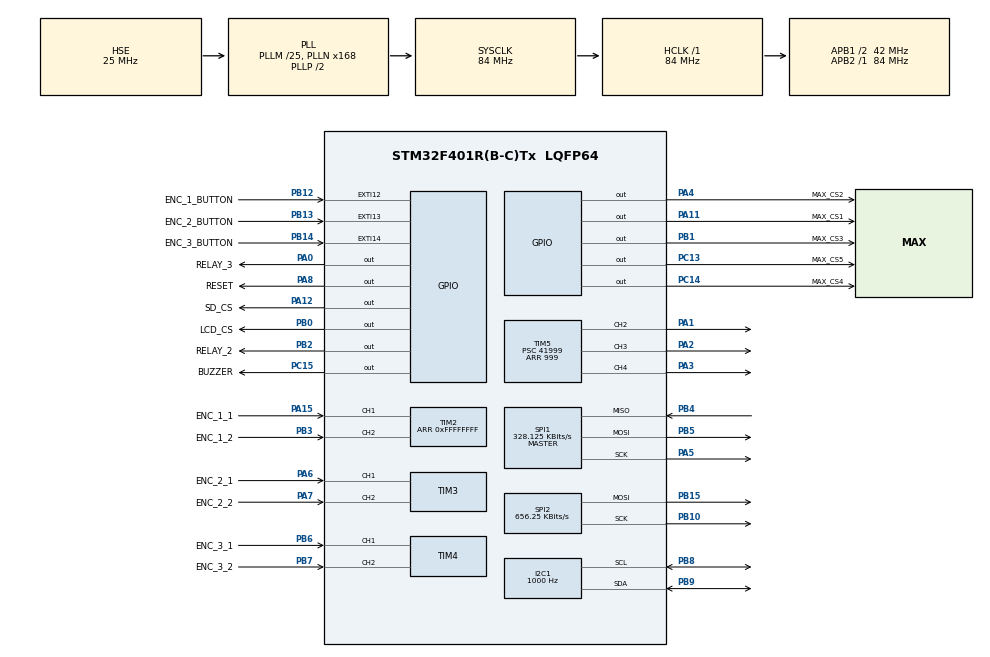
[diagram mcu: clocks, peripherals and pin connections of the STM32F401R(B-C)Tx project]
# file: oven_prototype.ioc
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Dma.Request0=SPI1_RX
Dma.Request1=SPI1_TX
Dma.Request2=TIM5_CH3/UP
Dma.SPI1_RX.0.Direction=DMA_PERIPH_TO_MEMORY
Dma.SPI1_RX.0.FIFOMode=DMA_FIFOMODE_DISABLE
Dma.SPI1_RX.0.Instance=DMA2_Stream0
Dma.SPI1_RX.0.MemDataAlignment=DMA_MDATAALIGN_HALFWORD
Dma.SPI1_RX.0.MemInc=DMA_MINC_ENABLE
Dma.SPI1_RX.0.Mode=DMA_NORMAL
Dma.SPI1_RX.0.PeriphDataAlignment=DMA_PDATAALIGN_HALFWORD
Dma.SPI1_RX.0.PeriphInc=DMA_PINC_DISABLE
Dma.SPI1_RX.0.Priority=DMA_PRIORITY_LOW
Dma.SPI1_TX.1.Direction=DMA_MEMORY_TO_PERIPH
Dma.SPI1_TX.1.FIFOMode=DMA_FIFOMODE_DISABLE
Dma.SPI1_TX.1.Instance=DMA2_Stream3
Dma.SPI1_TX.1.MemDataAlignment=DMA_MDATAALIGN_HALFWORD
Dma.SPI1_TX.1.MemInc=DMA_MINC_ENABLE
Dma.SPI1_TX.1.Mode=DMA_NORMAL
Dma.SPI1_TX.1.PeriphDataAlignment=DMA_PDATAALIGN_HALFWORD
Dma.SPI1_TX.1.PeriphInc=DMA_PINC_DISABLE
Dma.SPI1_TX.1.Priority=DMA_PRIORITY_LOW
Dma.TIM5_CH3/UP.2.Direction=DMA_MEMORY_TO_PERIPH
Dma.TIM5_CH3/UP.2.FIFOMode=DMA_FIFOMODE_DISABLE
Dma.TIM5_CH3/UP.2.Instance=DMA1_Stream0
Dma.TIM5_CH3/UP.2.MemDataAlignment=DMA_MDATAALIGN_HALFWORD
Dma.TIM5_CH3/UP.2.MemInc=DMA_MINC_ENABLE
Dma.TIM5_CH3/UP.2.Mode=DMA_CIRCULAR
Dma.TIM5_CH3/UP.2.PeriphDataAlignment=DMA_PDATAALIGN_HALFWORD
Dma.TIM5_CH3/UP.2.PeriphInc=DMA_PINC_DISABLE
Dma.TIM5_CH3/UP.2.Priority=DMA_PRIORITY_LOW
I2C1.ClockSpeed=1000
Mcu.Family=STM32F4
Mcu.Name=STM32F401R(B-C)Tx
Mcu.Package=LQFP64
NVIC.DMA1_Stream0_IRQn=true\:0\:0\:false\:false\:true\:false\:true\:true
NVIC.DMA2_Stream0_IRQn=true\:0\:0\:false\:false\:true\:false\:true\:true
NVIC.DMA2_Stream3_IRQn=true\:0\:0\:false\:false\:true\:false\:true\:true
NVIC.EXTI15_10_IRQn=true\:5\:0\:true\:false\:true\:true\:true\:true
NVIC.PriorityGroup=NVIC_PRIORITYGROUP_4
NVIC.TIM1_BRK_TIM9_IRQn=true\:0\:0\:false\:false\:true\:true\:true\:true
NVIC.TIM1_UP_TIM10_IRQn=true\:0\:0\:true\:false\:true\:true\:true\:true
NVIC.TIM2_IRQn=true\:5\:0\:true\:false\:true\:true\:true\:true
NVIC.TIM3_IRQn=true\:5\:0\:true\:false\:true\:true\:true\:true
NVIC.TIM4_IRQn=true\:5\:0\:true\:false\:true\:true\:true\:true
NVIC.TIM5_IRQn=true\:0\:0\:false\:false\:true\:true\:true\:true
PA0-WKUP.GPIO_Label=RELAY_3
PA0-WKUP.Signal=GPIO_Output
PA1.Signal=S_TIM5_CH2
PA11.GPIO_Label=MAX_CS1
PA11.Signal=GPIO_Output
PA12.GPIO_Label=SD_CS
PA12.Signal=GPIO_Output
PA13.Mode=Serial_Wire
PA13.Signal=SYS_JTMS-SWDIO
PA14.Mode=Serial_Wire
PA14.Signal=SYS_JTCK-SWCLK
PA15.GPIO_Label=ENC_1_1
PA15.GPIO_ModeDefaultPP=GPIO_MODE_AF_OD
PA15.GPIO_PuPd=GPIO_NOPULL
PA15.GPIO_Speed=GPIO_SPEED_FREQ_MEDIUM
PA15.Signal=S_TIM2_CH1_ETR
PA2.Signal=S_TIM5_CH3
PA3.Signal=S_TIM5_CH4
PA4.GPIO_Label=MAX_CS2
PA4.GPIO_Speed=GPIO_SPEED_FREQ_LOW
PA4.Signal=GPIO_Output
PA5.Mode=Full_Duplex_Master
PA5.Signal=SPI1_SCK
PA6.GPIO_Label=ENC_2_1
PA6.GPIO_Speed=GPIO_SPEED_FREQ_HIGH
PA6.Signal=S_TIM3_CH1
PA7.GPIO_Label=ENC_2_2
PA7.GPIO_Speed=GPIO_SPEED_FREQ_HIGH
PA7.Signal=S_TIM3_CH2
PA8.GPIO_Label=RESET
PA8.GPIO_Speed=GPIO_SPEED_FREQ_VERY_HIGH
PA8.Signal=GPIO_Output
PB0.GPIO_Label=LCD_CS
PB0.Signal=GPIO_Output
PB1.GPIO_Label=MAX_CS3
PB1.Signal=GPIO_Output
PB10.Mode=TX_Only_Simplex_Unidirect_Master
PB10.Signal=SPI2_SCK
PB12.GPIO_Label=ENC_1_BUTTON
PB12.GPIO_ModeDefaultEXTI=GPIO_MODE_IT_FALLING
PB12.GPIO_PuPd=GPIO_PULLUP
PB12.Signal=GPXTI12
PB13.GPIO_Label=ENC_2_BUTTON
PB13.GPIO_ModeDefaultEXTI=GPIO_MODE_IT_FALLING
PB13.GPIO_PuPd=GPIO_PULLUP
PB13.Signal=GPXTI13
PB14.GPIO_Label=ENC_3_BUTTON
PB14.GPIO_ModeDefaultEXTI=GPIO_MODE_IT_FALLING
PB14.GPIO_PuPd=GPIO_PULLUP
PB14.Signal=GPXTI14
PB15.Mode=TX_Only_Simplex_Unidirect_Master
PB15.Signal=SPI2_MOSI
PB2.GPIO_Label=RELAY_2
PB2.Signal=GPIO_Output
PB3.GPIO_Label=ENC_1_2
PB3.GPIO_PuPd=GPIO_NOPULL
PB3.GPIO_Speed=GPIO_SPEED_FREQ_MEDIUM
PB3.Signal=S_TIM2_CH2
PB4.Mode=Full_Duplex_Master
PB4.Signal=SPI1_MISO
PB5.Mode=Full_Duplex_Master
PB5.Signal=SPI1_MOSI
PB6.GPIO_Label=ENC_3_1
PB6.Signal=S_TIM4_CH1
PB7.GPIO_Label=ENC_3_2
PB7.Signal=S_TIM4_CH2
PB8.GPIO_Pu=GPIO_PULLUP
PB8.Mode=I2C
PB8.Signal=I2C1_SCL
PB9.GPIO_Pu=GPIO_PULLUP
PB9.Mode=I2C
PB9.Signal=I2C1_SDA
PC13-ANTI_TAMP.GPIO_Label=MAX_CS5
PC13-ANTI_TAMP.Signal=GPIO_Output
PC14-OSC32_IN.GPIO_Label=MAX_CS4
PC14-OSC32_IN.Signal=GPIO_Output
PC15-OSC32_OUT.GPIO_Label=BUZZER
PC15-OSC32_OUT.Signal=GPIO_Output
PH0\ -\ OSC_IN.Mode=HSE-External-Oscillator
PH0\ -\ OSC_IN.Signal=RCC_OSC_IN
PH1\ -\ OSC_OUT.Mode=HSE-External-Oscillator
PH1\ -\ OSC_OUT.Signal=RCC_OSC_OUT
ProjectManager.HeapSize=0x200
ProjectManager.StackSize=0x400
ProjectManager.TargetToolchain=STM32CubeIDE
RCC.48MHZClocksFreq_Value=42000000
RCC.AHBFreq_Value=84000000
RCC.APB1CLKDivider=RCC_HCLK_DIV2
RCC.APB1Freq_Value=42000000
RCC.APB1TimFreq_Value=84000000
RCC.APB2Freq_Value=84000000
RCC.APB2TimFreq_Value=84000000
RCC.CortexFreq_Value=84000000
RCC.HCLKFreq_Value=84000000
RCC.HSE_VALUE=25000000
RCC.HSI_VALUE=16000000
RCC.LSE_VALUE=32768
RCC.PLLM=25
RCC.PLLN=168
RCC.PLLSourceVirtual=RCC_PLLSOURCE_HSE
RCC.SYSCLKFreq_VALUE=84000000
RCC.SYSCLKSource=RCC_SYSCLKSOURCE_PLLCLK
RCC.VCOOutputFreq_Value=168000000
SH.S_TIM2_CH1_ETR.0=TIM2_CH1,Encoder_Interface
SH.S_TIM2_CH2.0=TIM2_CH2,Encoder_Interface
SH.S_TIM3_CH1.0=TIM3_CH1,Encoder_Interface
SH.S_TIM3_CH2.0=TIM3_CH2,Encoder_Interface
SH.S_TIM4_CH1.0=TIM4_CH1,Encoder_Interface
SH.S_TIM4_CH2.0=TIM4_CH2,Encoder_Interface
SH.S_TIM5_CH2.0=TIM5_CH2,PWM Generation2 CH2
SH.S_TIM5_CH3.0=TIM5_CH3,PWM Generation3 CH3
SH.S_TIM5_CH4.0=TIM5_CH4,PWM Generation4 CH4
SPI1.BaudRatePrescaler=SPI_BAUDRATEPRESCALER_256
SPI1.CLKPhase=SPI_PHASE_2EDGE
SPI1.CLKPolarity=SPI_POLARITY_HIGH
SPI1.CalculateBaudRate=328.125 KBits/s
SPI1.DataSize=SPI_DATASIZE_16BIT
SPI1.Direction=SPI_DIRECTION_2LINES
SPI1.Mode=SPI_MODE_MASTER
SPI1.VirtualType=VM_MASTER
SPI2.BaudRatePrescaler=SPI_BAUDRATEPRESCALER_64
SPI2.CalculateBaudRate=656.25 KBits/s
SPI2.Direction=SPI_DIRECTION_2LINES
SPI2.Mode=SPI_MODE_MASTER
SPI2.VirtualType=VM_MASTER
TIM1.ClockDivision=TIM_CLOCKDIVISION_DIV1
TIM1.Period=99
TIM1.Prescaler=40999
TIM2.EncoderMode=TIM_ENCODERMODE_TI12
TIM2.IC1Filter=10
TIM2.IC1Polarity=TIM_ICPOLARITY_FALLING
TIM2.IC2Filter=10
TIM2.IC2Polarity=TIM_ICPOLARITY_FALLING
TIM2.Period=0xFFFFFFFF
TIM3.EncoderMode=TIM_ENCODERMODE_TI12
TIM3.IC1Filter=4
TIM3.IC1Polarity=TIM_ICPOLARITY_FALLING
TIM3.IC2Filter=4
TIM3.IC2Polarity=TIM_ICPOLARITY_FALLING
TIM4.EncoderMode=TIM_ENCODERMODE_TI12
TIM4.IC1Polarity=TIM_ICPOLARITY_FALLING
TIM4.IC2Polarity=TIM_ICPOLARITY_FALLING
TIM5.Channel-PWM\ Generation2\ CH2=TIM_CHANNEL_2
TIM5.Channel-PWM\ Generation3\ CH3=TIM_CHANNEL_3
TIM5.Channel-PWM\ Generation4\ CH4=TIM_CHANNEL_4
TIM5.Period=999
TIM5.Prescaler=41999
TIM9.ClockDivision=TIM_CLOCKDIVISION_DIV2
TIM9.Period=99
TIM9.Prescaler=41999
VP_TIM1_VS_ClockSourceINT.Mode=Internal
VP_TIM5_VS_ClockSourceINT.Mode=Internal
VP_TIM9_VS_ClockSourceINT.Mode=Internal
board=custom

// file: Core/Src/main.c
/* USER CODE BEGIN Header */
/**
  ******************************************************************************
  * @file           : main.c
  * @brief          : Main program body
  ******************************************************************************
  * @attention
  *
  * Copyright (c) 2025 STMicroelectronics.
  * All rights reserved.
  *
  * This software is licensed under terms that can be found in the LICENSE file
  * in the root directory of this software component.
  * If no LICENSE file comes with this software, it is provided AS-IS.
  *
  ******************************************************************************
  */
/* USER CODE END Header */

#include "main.h"

/* USER CODE BEGIN Includes */
#include "u8g2.h"
#include "pi_control.h"
#include "ds1307_for_stm32_hal.h"
#include "menu.h"
#include <math.h>
#include "Sensor_Handler.h"
#include "Cooking_Handler.h"
#include "Display_Handler.h"
#include "settings.h"
#include "types.h"
#include "Encoder_Handler.h"
#include "Interrupt_Handler.h"
#include "Helper_Functions.h"
/* USER CODE END Includes */

I2C_HandleTypeDef hi2c1;

SPI_HandleTypeDef hspi1;
SPI_HandleTypeDef hspi2;
DMA_HandleTypeDef hdma_spi1_rx;
DMA_HandleTypeDef hdma_spi1_tx;

TIM_HandleTypeDef htim1;
TIM_HandleTypeDef htim2;
TIM_HandleTypeDef htim3;
TIM_HandleTypeDef htim4;
TIM_HandleTypeDef htim5;
TIM_HandleTypeDef htim9;
DMA_HandleTypeDef hdma_tim5_ch3_up;

/* USER CODE BEGIN PV */

/* PI CALIBRATION VERIABLES BEGIN*/

/* PI CALIBRATION VERIABLES END*/
static PI_Oven    pi1;
static PI_Oven    pi2;
static PI_Oven    pi3;

static MenuCtx m;
static CookingCtx c;
static Sens t;

AppSettings* cfg;

setting_t setting;

encoder encoder1;
encoder encoder2;
encoder encoder3;

u8g2_t display;

uint32_t TIM_counter;

/* USER CODE END PV */

void SystemClock_Config(void);
static void MX_GPIO_Init(void);
static void MX_DMA_Init(void);
static void MX_SPI1_Init(void);
static void MX_TIM2_Init(void);
static void MX_TIM3_Init(void);
static void MX_TIM4_Init(void);
static void MX_I2C1_Init(void);
static void MX_TIM1_Init(void);
static void MX_SPI2_Init(void);
static void MX_TIM5_Init(void);
static void MX_TIM9_Init(void);

int main(void)
{

  /* MCU Configuration--------------------------------------------------------*/

  /* Reset of all peripherals, Initializes the Flash interface and the Systick. */
  HAL_Init();

  /* Configure the system clock */
  SystemClock_Config();

  /* Initialize all configured peripherals */
  MX_GPIO_Init();
  MX_DMA_Init();
  MX_SPI1_Init();
  MX_TIM2_Init();
  MX_TIM3_Init();
  MX_TIM4_Init();
  MX_I2C1_Init();
  MX_TIM1_Init();
  MX_SPI2_Init();
  MX_TIM5_Init();
  MX_TIM9_Init();
  /* USER CODE BEGIN 2 */
	Temp_Sens_Init();
	DS1307_Init(&hi2c1);
	Display_Init(&display);

	Settings_Init();
	cfg = Settings_Get();
	setting.kp = cfg->kp;
	setting.ki = cfg->ki;
	setting.slew = cfg->slew;
	setting.max_pwr = cfg->maxPwr;

	Encoder_Init();
	Cooking_Init(setting, &pi1, &pi2, &pi3);

	HAL_TIM_Base_Start_IT(&htim1);

  /* USER CODE END 2 */

  /* Infinite loop */
	while (1) {

    /* USER CODE BEGIN 3 */

		if(IRQ_enc1_btn_flag == TRUE){

			button_handler_encoder1(&m, &c, t);
			IRQ_enc1_btn_flag = FALSE;

		}
		if(IRQ_enc2_btn_flag == TRUE){

			button_handler_encoder2(&m, &c);
			IRQ_enc2_btn_flag = FALSE;

		}
		if(IRQ_enc3_btn_flag == TRUE){

			button_handler_encoder3(&m, &setting, &pi1, &pi2, &pi3);
			IRQ_enc3_btn_flag = FALSE;
		}

		if (sensorRead_flag == TRUE) {

			sensorRead_flag = FALSE;

			Sens_Handler(&t, TIM_counter, &hspi2);

			Cooking_Handler(&c, t, &pi1, &pi2, &pi3);

		}
		if(SPI_flag == TRUE){
			TempSens_IRQ_Handler(&t);
			SPI_flag = FALSE;
		}

		tick_handler_encoder1(&encoder1, &m);
		tick_handler_encoder2(&encoder2, &m, c);
		tick_handler_encoder3(&encoder3, &m);

		Display_Handler(&display, &m, &c, t, &setting);

	}
  /* USER CODE END 3 */
}

void SystemClock_Config(void)
{
  RCC_OscInitTypeDef RCC_OscInitStruct = {0};
  RCC_ClkInitTypeDef RCC_ClkInitStruct = {0};

  /** Configure the main internal regulator output voltage
  */
  __HAL_RCC_PWR_CLK_ENABLE();
  __HAL_PWR_VOLTAGESCALING_CONFIG(PWR_REGULATOR_VOLTAGE_SCALE2);

  /** Initializes the RCC Oscillators according to the specified parameters
  * in the RCC_OscInitTypeDef structure.
  */
  RCC_OscInitStruct.OscillatorType = RCC_OSCILLATORTYPE_HSE;
  RCC_OscInitStruct.HSEState = RCC_HSE_ON;
  RCC_OscInitStruct.PLL.PLLState = RCC_PLL_ON;
  RCC_OscInitStruct.PLL.PLLSource = RCC_PLLSOURCE_HSE;
  RCC_OscInitStruct.PLL.PLLM = 25;
  RCC_OscInitStruct.PLL.PLLN = 168;
  RCC_OscInitStruct.PLL.PLLP = RCC_PLLP_DIV2;
  RCC_OscInitStruct.PLL.PLLQ = 4;
  if (HAL_RCC_OscConfig(&RCC_OscInitStruct) != HAL_OK)
  {
    Error_Handler();
  }

  /** Initializes the CPU, AHB and APB buses clocks
  */
  RCC_ClkInitStruct.ClockType = RCC_CLOCKTYPE_HCLK|RCC_CLOCKTYPE_SYSCLK
                              |RCC_CLOCKTYPE_PCLK1|RCC_CLOCKTYPE_PCLK2;
  RCC_ClkInitStruct.SYSCLKSource = RCC_SYSCLKSOURCE_PLLCLK;
  RCC_ClkInitStruct.AHBCLKDivider = RCC_SYSCLK_DIV1;
  RCC_ClkInitStruct.APB1CLKDivider = RCC_HCLK_DIV2;
  RCC_ClkInitStruct.APB2CLKDivider = RCC_HCLK_DIV1;

  if (HAL_RCC_ClockConfig(&RCC_ClkInitStruct, FLASH_LATENCY_2) != HAL_OK)
  {
    Error_Handler();
  }
}

static void MX_I2C1_Init(void)
{

  hi2c1.Instance = I2C1;
  hi2c1.Init.ClockSpeed = 1000;
  hi2c1.Init.DutyCycle = I2C_DUTYCYCLE_2;
  hi2c1.Init.OwnAddress1 = 0;
  hi2c1.Init.AddressingMode = I2C_ADDRESSINGMODE_7BIT;
  hi2c1.Init.DualAddressMode = I2C_DUALADDRESS_DISABLE;
  hi2c1.Init.OwnAddress2 = 0;
  hi2c1.Init.GeneralCallMode = I2C_GENERALCALL_DISABLE;
  hi2c1.Init.NoStretchMode = I2C_NOSTRETCH_DISABLE;
  if (HAL_I2C_Init(&hi2c1) != HAL_OK)
  {
    Error_Handler();
  }

}

static void MX_SPI1_Init(void)
{

  /* SPI1 parameter configuration*/
  hspi1.Instance = SPI1;
  hspi1.Init.Mode = SPI_MODE_MASTER;
  hspi1.Init.Direction = SPI_DIRECTION_2LINES;
  hspi1.Init.DataSize = SPI_DATASIZE_16BIT;
  hspi1.Init.CLKPolarity = SPI_POLARITY_HIGH;
  hspi1.Init.CLKPhase = SPI_PHASE_2EDGE;
  hspi1.Init.NSS = SPI_NSS_SOFT;
  hspi1.Init.BaudRatePrescaler = SPI_BAUDRATEPRESCALER_256;
  hspi1.Init.FirstBit = SPI_FIRSTBIT_MSB;
  hspi1.Init.TIMode = SPI_TIMODE_DISABLE;
  hspi1.Init.CRCCalculation = SPI_CRCCALCULATION_DISABLE;
  hspi1.Init.CRCPolynomial = 10;
  if (HAL_SPI_Init(&hspi1) != HAL_OK)
  {
    Error_Handler();
  }

}

static void MX_SPI2_Init(void)
{

  /* SPI2 parameter configuration*/
  hspi2.Instance = SPI2;
  hspi2.Init.Mode = SPI_MODE_MASTER;
  hspi2.Init.Direction = SPI_DIRECTION_2LINES;
  hspi2.Init.DataSize = SPI_DATASIZE_8BIT;
  hspi2.Init.CLKPolarity = SPI_POLARITY_LOW;
  hspi2.Init.CLKPhase = SPI_PHASE_1EDGE;
  hspi2.Init.NSS = SPI_NSS_SOFT;
  hspi2.Init.BaudRatePrescaler = SPI_BAUDRATEPRESCALER_64;
  hspi2.Init.FirstBit = SPI_FIRSTBIT_MSB;
  hspi2.Init.TIMode = SPI_TIMODE_DISABLE;
  hspi2.Init.CRCCalculation = SPI_CRCCALCULATION_DISABLE;
  hspi2.Init.CRCPolynomial = 10;
  if (HAL_SPI_Init(&hspi2) != HAL_OK)
  {
    Error_Handler();
  }

}

static void MX_TIM1_Init(void)
{

  TIM_ClockConfigTypeDef sClockSourceConfig = {0};
  TIM_MasterConfigTypeDef sMasterConfig = {0};

  htim1.Instance = TIM1;
  htim1.Init.Prescaler = 40999;
  htim1.Init.CounterMode = TIM_COUNTERMODE_UP;
  htim1.Init.Period = 99;
  htim1.Init.ClockDivision = TIM_CLOCKDIVISION_DIV1;
  htim1.Init.RepetitionCounter = 0;
  htim1.Init.AutoReloadPreload = TIM_AUTORELOAD_PRELOAD_DISABLE;
  if (HAL_TIM_Base_Init(&htim1) != HAL_OK)
  {
    Error_Handler();
  }
  sClockSourceConfig.ClockSource = TIM_CLOCKSOURCE_INTERNAL;
  if (HAL_TIM_ConfigClockSource(&htim1, &sClockSourceConfig) != HAL_OK)
  {
    Error_Handler();
  }
  sMasterConfig.MasterOutputTrigger = TIM_TRGO_RESET;
  sMasterConfig.MasterSlaveMode = TIM_MASTERSLAVEMODE_DISABLE;
  if (HAL_TIMEx_MasterConfigSynchronization(&htim1, &sMasterConfig) != HAL_OK)
  {
    Error_Handler();
  }

}

static void MX_TIM2_Init(void)
{

  TIM_Encoder_InitTypeDef sConfig = {0};
  TIM_MasterConfigTypeDef sMasterConfig = {0};

  htim2.Instance = TIM2;
  htim2.Init.Prescaler = 0;
  htim2.Init.CounterMode = TIM_COUNTERMODE_UP;
  htim2.Init.Period = 0xFFFFFFFF;
  htim2.Init.ClockDivision = TIM_CLOCKDIVISION_DIV1;
  htim2.Init.AutoReloadPreload = TIM_AUTORELOAD_PRELOAD_DISABLE;
  sConfig.EncoderMode = TIM_ENCODERMODE_TI12;
  sConfig.IC1Polarity = TIM_ICPOLARITY_FALLING;
  sConfig.IC1Selection = TIM_ICSELECTION_DIRECTTI;
  sConfig.IC1Prescaler = TIM_ICPSC_DIV1;
  sConfig.IC1Filter = 10;
  sConfig.IC2Polarity = TIM_ICPOLARITY_FALLING;
  sConfig.IC2Selection = TIM_ICSELECTION_DIRECTTI;
  sConfig.IC2Prescaler = TIM_ICPSC_DIV1;
  sConfig.IC2Filter = 10;
  if (HAL_TIM_Encoder_Init(&htim2, &sConfig) != HAL_OK)
  {
    Error_Handler();
  }
  sMasterConfig.MasterOutputTrigger = TIM_TRGO_RESET;
  sMasterConfig.MasterSlaveMode = TIM_MASTERSLAVEMODE_DISABLE;
  if (HAL_TIMEx_MasterConfigSynchronization(&htim2, &sMasterConfig) != HAL_OK)
  {
    Error_Handler();
  }

}

static void MX_TIM3_Init(void)
{

  TIM_Encoder_InitTypeDef sConfig = {0};
  TIM_MasterConfigTypeDef sMasterConfig = {0};

  htim3.Instance = TIM3;
  htim3.Init.Prescaler = 0;
  htim3.Init.CounterMode = TIM_COUNTERMODE_UP;
  htim3.Init.Period = 65535;
  htim3.Init.ClockDivision = TIM_CLOCKDIVISION_DIV1;
  htim3.Init.AutoReloadPreload = TIM_AUTORELOAD_PRELOAD_DISABLE;
  sConfig.EncoderMode = TIM_ENCODERMODE_TI12;
  sConfig.IC1Polarity = TIM_ICPOLARITY_FALLING;
  sConfig.IC1Selection = TIM_ICSELECTION_DIRECTTI;
  sConfig.IC1Prescaler = TIM_ICPSC_DIV1;
  sConfig.IC1Filter = 4;
  sConfig.IC2Polarity = TIM_ICPOLARITY_FALLING;
  sConfig.IC2Selection = TIM_ICSELECTION_DIRECTTI;
  sConfig.IC2Prescaler = TIM_ICPSC_DIV1;
  sConfig.IC2Filter = 4;
  if (HAL_TIM_Encoder_Init(&htim3, &sConfig) != HAL_OK)
  {
    Error_Handler();
  }
  sMasterConfig.MasterOutputTrigger = TIM_TRGO_RESET;
  sMasterConfig.MasterSlaveMode = TIM_MASTERSLAVEMODE_DISABLE;
  if (HAL_TIMEx_MasterConfigSynchronization(&htim3, &sMasterConfig) != HAL_OK)
  {
    Error_Handler();
  }

}

static void MX_TIM4_Init(void)
{

  TIM_Encoder_InitTypeDef sConfig = {0};
  TIM_MasterConfigTypeDef sMasterConfig = {0};

  htim4.Instance = TIM4;
  htim4.Init.Prescaler = 0;
  htim4.Init.CounterMode = TIM_COUNTERMODE_UP;
  htim4.Init.Period = 65535;
  htim4.Init.ClockDivision = TIM_CLOCKDIVISION_DIV1;
  htim4.Init.AutoReloadPreload = TIM_AUTORELOAD_PRELOAD_DISABLE;
  sConfig.EncoderMode = TIM_ENCODERMODE_TI12;
  sConfig.IC1Polarity = TIM_ICPOLARITY_FALLING;
  sConfig.IC1Selection = TIM_ICSELECTION_DIRECTTI;
  sConfig.IC1Prescaler = TIM_ICPSC_DIV1;
  sConfig.IC1Filter = 0;
  sConfig.IC2Polarity = TIM_ICPOLARITY_FALLING;
  sConfig.IC2Selection = TIM_ICSELECTION_DIRECTTI;
  sConfig.IC2Prescaler = TIM_ICPSC_DIV1;
  sConfig.IC2Filter = 0;
  if (HAL_TIM_Encoder_Init(&htim4, &sConfig) != HAL_OK)
  {
    Error_Handler();
  }
  sMasterConfig.MasterOutputTrigger = TIM_TRGO_RESET;
  sMasterConfig.MasterSlaveMode = TIM_MASTERSLAVEMODE_DISABLE;
  if (HAL_TIMEx_MasterConfigSynchronization(&htim4, &sMasterConfig) != HAL_OK)
  {
    Error_Handler();
  }

}

static void MX_TIM5_Init(void)
{

  TIM_ClockConfigTypeDef sClockSourceConfig = {0};
  TIM_MasterConfigTypeDef sMasterConfig = {0};
  TIM_OC_InitTypeDef sConfigOC = {0};

  htim5.Instance = TIM5;
  htim5.Init.Prescaler = 41999;
  htim5.Init.CounterMode = TIM_COUNTERMODE_UP;
  htim5.Init.Period = 999;
  htim5.Init.ClockDivision = TIM_CLOCKDIVISION_DIV1;
  htim5.Init.AutoReloadPreload = TIM_AUTORELOAD_PRELOAD_DISABLE;
  if (HAL_TIM_Base_Init(&htim5) != HAL_OK)
  {
    Error_Handler();
  }
  sClockSourceConfig.ClockSource = TIM_CLOCKSOURCE_INTERNAL;
  if (HAL_TIM_ConfigClockSource(&htim5, &sClockSourceConfig) != HAL_OK)
  {
    Error_Handler();
  }
  if (HAL_TIM_PWM_Init(&htim5) != HAL_OK)
  {
    Error_Handler();
  }
  sMasterConfig.MasterOutputTrigger = TIM_TRGO_RESET;
  sMasterConfig.MasterSlaveMode = TIM_MASTERSLAVEMODE_DISABLE;
  if (HAL_TIMEx_MasterConfigSynchronization(&htim5, &sMasterConfig) != HAL_OK)
  {
    Error_Handler();
  }
  sConfigOC.OCMode = TIM_OCMODE_PWM1;
  sConfigOC.Pulse = 0;
  sConfigOC.OCPolarity = TIM_OCPOLARITY_HIGH;
  sConfigOC.OCFastMode = TIM_OCFAST_DISABLE;
  if (HAL_TIM_PWM_ConfigChannel(&htim5, &sConfigOC, TIM_CHANNEL_2) != HAL_OK)
  {
    Error_Handler();
  }
  if (HAL_TIM_PWM_ConfigChannel(&htim5, &sConfigOC, TIM_CHANNEL_3) != HAL_OK)
  {
    Error_Handler();
  }
  if (HAL_TIM_PWM_ConfigChannel(&htim5, &sConfigOC, TIM_CHANNEL_4) != HAL_OK)
  {
    Error_Handler();
  }
  HAL_TIM_MspPostInit(&htim5);

}

static void MX_TIM9_Init(void)
{

  TIM_ClockConfigTypeDef sClockSourceConfig = {0};

  htim9.Instance = TIM9;
  htim9.Init.Prescaler = 41999;
  htim9.Init.CounterMode = TIM_COUNTERMODE_UP;
  htim9.Init.Period = 99;
  htim9.Init.ClockDivision = TIM_CLOCKDIVISION_DIV2;
  htim9.Init.AutoReloadPreload = TIM_AUTORELOAD_PRELOAD_DISABLE;
  if (HAL_TIM_Base_Init(&htim9) != HAL_OK)
  {
    Error_Handler();
  }
  sClockSourceConfig.ClockSource = TIM_CLOCKSOURCE_INTERNAL;
  if (HAL_TIM_ConfigClockSource(&htim9, &sClockSourceConfig) != HAL_OK)
  {
    Error_Handler();
  }

}

static void MX_DMA_Init(void)
{

  /* DMA controller clock enable */
  __HAL_RCC_DMA2_CLK_ENABLE();
  __HAL_RCC_DMA1_CLK_ENABLE();

  /* DMA interrupt init */
  /* DMA1_Stream0_IRQn interrupt configuration */
  HAL_NVIC_SetPriority(DMA1_Stream0_IRQn, 0, 0);
  HAL_NVIC_EnableIRQ(DMA1_Stream0_IRQn);
  /* DMA2_Stream0_IRQn interrupt configuration */
  HAL_NVIC_SetPriority(DMA2_Stream0_IRQn, 0, 0);
  HAL_NVIC_EnableIRQ(DMA2_Stream0_IRQn);
  /* DMA2_Stream3_IRQn interrupt configuration */
  HAL_NVIC_SetPriority(DMA2_Stream3_IRQn, 0, 0);
  HAL_NVIC_EnableIRQ(DMA2_Stream3_IRQn);

}

static void MX_GPIO_Init(void)
{
  GPIO_InitTypeDef GPIO_InitStruct = {0};

  /* GPIO Ports Clock Enable */
  __HAL_RCC_GPIOC_CLK_ENABLE();
  __HAL_RCC_GPIOH_CLK_ENABLE();
  __HAL_RCC_GPIOA_CLK_ENABLE();
  __HAL_RCC_GPIOB_CLK_ENABLE();

  /*Configure GPIO pin Output Level */
  HAL_GPIO_WritePin(GPIOC, MAX_CS5_Pin|MAX_CS4_Pin|BUZZER_Pin, GPIO_PIN_RESET);

  /*Configure GPIO pin Output Level */
  HAL_GPIO_WritePin(GPIOA, RELAY_3_Pin|MAX_CS2_Pin|RESET_Pin|MAX_CS1_Pin
                          |SD_CS_Pin, GPIO_PIN_RESET);

  /*Configure GPIO pin Output Level */
  HAL_GPIO_WritePin(GPIOB, LCD_CS_Pin|MAX_CS3_Pin|RELAY_2_Pin, GPIO_PIN_RESET);

  /*Configure GPIO pins : MAX_CS5_Pin MAX_CS4_Pin BUZZER_Pin */
  GPIO_InitStruct.Pin = MAX_CS5_Pin|MAX_CS4_Pin|BUZZER_Pin;
  GPIO_InitStruct.Mode = GPIO_MODE_OUTPUT_PP;
  GPIO_InitStruct.Pull = GPIO_NOPULL;
  GPIO_InitStruct.Speed = GPIO_SPEED_FREQ_LOW;
  HAL_GPIO_Init(GPIOC, &GPIO_InitStruct);

  /*Configure GPIO pins : RELAY_3_Pin MAX_CS2_Pin MAX_CS1_Pin SD_CS_Pin */
  GPIO_InitStruct.Pin = RELAY_3_Pin|MAX_CS2_Pin|MAX_CS1_Pin|SD_CS_Pin;
  GPIO_InitStruct.Mode = GPIO_MODE_OUTPUT_PP;
  GPIO_InitStruct.Pull = GPIO_NOPULL;
  GPIO_InitStruct.Speed = GPIO_SPEED_FREQ_LOW;
  HAL_GPIO_Init(GPIOA, &GPIO_InitStruct);

  /*Configure GPIO pins : LCD_CS_Pin MAX_CS3_Pin RELAY_2_Pin */
  GPIO_InitStruct.Pin = LCD_CS_Pin|MAX_CS3_Pin|RELAY_2_Pin;
  GPIO_InitStruct.Mode = GPIO_MODE_OUTPUT_PP;
  GPIO_InitStruct.Pull = GPIO_NOPULL;
  GPIO_InitStruct.Speed = GPIO_SPEED_FREQ_LOW;
  HAL_GPIO_Init(GPIOB, &GPIO_InitStruct);

  /*Configure GPIO pins : ENC_1_BUTTON_Pin ENC_2_BUTTON_Pin ENC_3_BUTTON_Pin */
  GPIO_InitStruct.Pin = ENC_1_BUTTON_Pin|ENC_2_BUTTON_Pin|ENC_3_BUTTON_Pin;
  GPIO_InitStruct.Mode = GPIO_MODE_IT_FALLING;
  GPIO_InitStruct.Pull = GPIO_PULLUP;
  HAL_GPIO_Init(GPIOB, &GPIO_InitStruct);

  /*Configure GPIO pin : RESET_Pin */
  GPIO_InitStruct.Pin = RESET_Pin;
  GPIO_InitStruct.Mode = GPIO_MODE_OUTPUT_PP;
  GPIO_InitStruct.Pull = GPIO_NOPULL;
  GPIO_InitStruct.Speed = GPIO_SPEED_FREQ_VERY_HIGH;
  HAL_GPIO_Init(RESET_GPIO_Port, &GPIO_InitStruct);

  /* EXTI interrupt init*/
  HAL_NVIC_SetPriority(EXTI15_10_IRQn, 5, 0);
  HAL_NVIC_EnableIRQ(EXTI15_10_IRQn);

}

void Error_Handler(void)
{
  __disable_irq();
  while (1)
  {
  }
}
